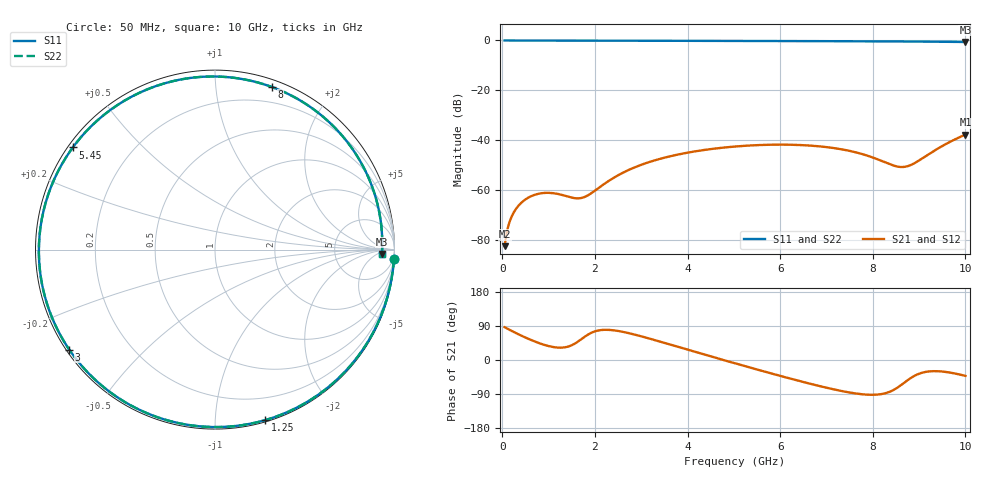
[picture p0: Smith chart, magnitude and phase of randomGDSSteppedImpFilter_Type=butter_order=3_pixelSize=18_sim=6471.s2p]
! freq	dB(S11)	phase(S11)	dB(S12)	phase(S12)
!  dB(S21)	phase(S21)	dB(S22)	phase(S22)
!S-par simulation data
#  GHz  S  DB  R 50
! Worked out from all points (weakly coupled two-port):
!   200 points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, 50 MHz to 10 GHz, reference 50 ohm
!   highest |S21| = -37.75 dB at 10 GHz (marker M1); lowest = -82.5 dB at 50 MHz (marker M2)
!   lowest |S11| = -0.6 dB at 10 GHz (marker M3), VSWR 27.64, Z = 1.22e+03 - j445 ohm
!   |S11| at or under -10 dB: nowhere
!   |S22| runs from -0.6 to 0.0 dB; largest |S21 - S12| = 0
!   S11 on the Smith chart (normalised r, x): 50 MHz: 1, -37; 1.25 GHz: 0.01, -1.34; 3 GHz: 0.01, -0.31; 5.45 GHz: 0.01, +0.32; 8 GHz: 0.06, +1.41; 10 GHz: 24, -9
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0.05  -0.01 -3.1  -82.47 86.6  -82.47 86.6  -0.01 -3.1
0.2  -0.03 -12.5  -70.66 76.9  -70.66 76.9  -0.03 -12.5
0.3  -0.04 -18.8  -67.40 70.7  -67.40 70.7  -0.04 -18.8
0.45  -0.04 -28.1  -64.42 62.0  -64.42 62.0  -0.04 -28.1
0.8  -0.06 -48.9  -61.40 44.3  -61.40 44.3  -0.06 -48.9
1.25  -0.08 -73.5  -61.74 32.5  -61.74 32.5  -0.08 -73.5
1.55  -0.10 -88.4  -63.17 42.1  -63.17 42.1  -0.10 -88.4
1.75  -0.10 -97.6  -62.93 58.8  -62.93 58.8  -0.10 -97.6
2.35  -0.12 -122.5  -55.70 79.1  -55.70 79.1  -0.12 -122.5
3  -0.13 -145.6  -49.85 62.5  -49.85 62.5  -0.13 -145.6
3.4  -0.14 -158.3  -47.49 48.8  -47.49 48.8  -0.14 -158.3
4.2  -0.17 178.3  -44.35 20.3  -44.35 20.3  -0.17 178.3
5.05  -0.20 155.0  -42.49 -9.6  -42.49 -9.6  -0.20 155.1
5.45  -0.21 144.3  -42.01 -23.3  -42.01 -23.3  -0.21 144.3
6.7  -0.28 110.0  -42.22 -64.2  -42.22 -64.2  -0.28 110.0
7.35  -0.31 91.0  -43.72 -82.4  -43.72 -82.4  -0.31 91.0
8  -0.36 70.8  -46.92 -91.8  -46.92 -91.8  -0.36 70.8
8.35  -0.38 59.3  -49.49 -84.6  -49.49 -84.6  -0.38 59.3
8.6  -0.41 50.8  -50.73 -67.3  -50.73 -67.3  -0.41 50.8
8.8  -0.43 43.8  -50.09 -49.2  -50.09 -49.2  -0.43 43.9
9.45  -0.52 20.1  -42.85 -29.9  -42.85 -29.9  -0.52 20.1
10  -0.63 -1.5  -37.75 -41.9  -37.75 -41.9  -0.63 -1.5
